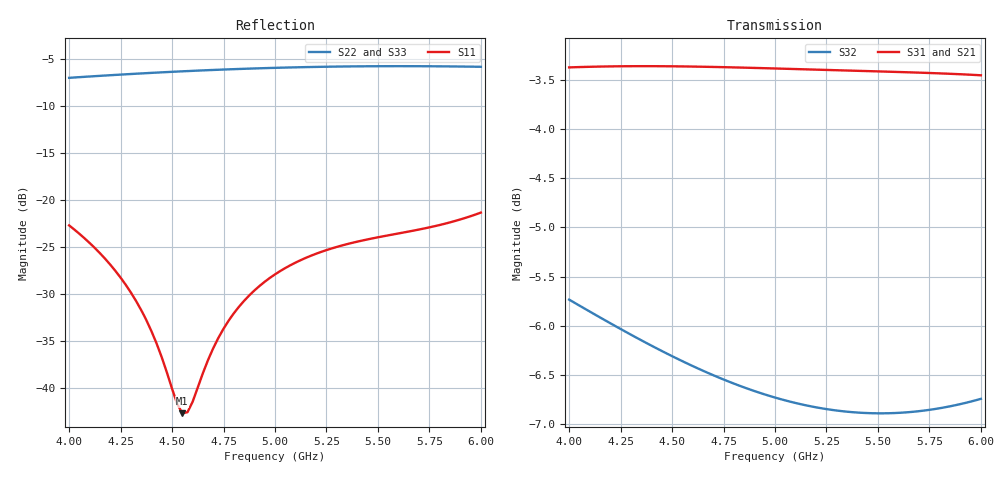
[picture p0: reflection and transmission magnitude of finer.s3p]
! yapnr rf: divider-osh-w-star-s21-guard, footprint re-simulated (refine 3)
! spec sha256 03d733a7fbe4f4bffe69570845329ad34bf43d2be3787ac8cdc4bcb0e68c03df
! 3 ports renormalized to 50 ohm, e^(+jwt) convention
# GHz S RI R 50
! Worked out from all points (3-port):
!   85 points, 4 GHz to 6 GHz, reference 50 ohm
!   strongest paths, dB at 4 GHz, 4.5 GHz, 5 GHz, 5.5 GHz, 6 GHz:
!     S31: -3.4, -3.4, -3.4, -3.4, -3.5
!     S21: -3.4, -3.4, -3.4, -3.4, -3.5
!     S32: -5.7, -6.3, -6.7, -6.9, -6.7
!   lowest |S11| = -42.7 dB at 4.55 GHz (marker M1), VSWR 1.01, Z = 50.3 - j0.666 ohm
!   |S11| at or under -10 dB: start of sweep to end of sweep
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4  0.054 0.0495  -0.6769 0.0426  -0.6769 0.0426
   -0.6767 0.0421  0.2179 -0.3877  -0.2683 0.4417
   -0.6767 0.0421  -0.2683 0.4417  0.2179 -0.3877
4.175  0.042 0.0246  -0.6631 0.1451  -0.6631 0.1451
       -0.6632 0.1444  0.1542 -0.4306  -0.185 0.4693
       -0.6632 0.1444  -0.185 0.4693  0.1542 -0.4306
4.325  0.028 0.00805  -0.6386 0.2307  -0.6386 0.2307
       -0.6389 0.2298  0.0949 -0.458  -0.1136 0.4812
       -0.6389 0.2298  -0.1136 0.4812  0.0949 -0.458
4.425  0.0173 -3.5e-05  -0.6158 0.2856  -0.6158 0.2856
       -0.6163 0.2847  0.0536 -0.4711  -0.0668 0.4836
       -0.6163 0.2847  -0.0668 0.4836  0.0536 -0.4711
4.55  0.00323 -0.00662  -0.5805 0.3512  -0.5805 0.3512
      -0.5813 0.3503  0.000904 -0.4816  -0.00982 0.4808
      -0.5813 0.3503  -0.00982 0.4808  0.000904 -0.4816
4.575  0.000397 -0.00746  -0.5726 0.3639  -0.5726 0.3639
       -0.5735 0.363  -0.00971 -0.4829  0.00134 0.4795
       -0.5735 0.363  0.00134 0.4795  -0.00971 -0.4829
4.775  -0.0213 -0.00845  -0.4993 0.4581  -0.4993 0.4581
       -0.5006 0.4573  -0.0945 -0.4842  0.0873 0.4614
       -0.5006 0.4573  0.0873 0.4614  -0.0945 -0.4842
5  -0.0402 0.00161  -0.398 0.5468  -0.398 0.5468
   -0.3998 0.5464  -0.1863 -0.4667  0.1757 0.4261
   -0.3998 0.5464  0.1757 0.4261  -0.1863 -0.4667
5.525  -0.0382 0.0515  -0.1065 0.6645  -0.1065 0.6645
       -0.1085 0.6659  -0.3643 -0.3608  0.3438 0.2941
       -0.1085 0.6659  0.3438 0.2941  -0.3643 -0.3608
6  0.0354 0.078  0.1843 0.6433  0.1843 0.6433
   0.1839 0.6461  -0.46 -0.2179  0.4434 0.1232
   0.1839 0.6461  0.4434 0.1232  -0.46 -0.2179
